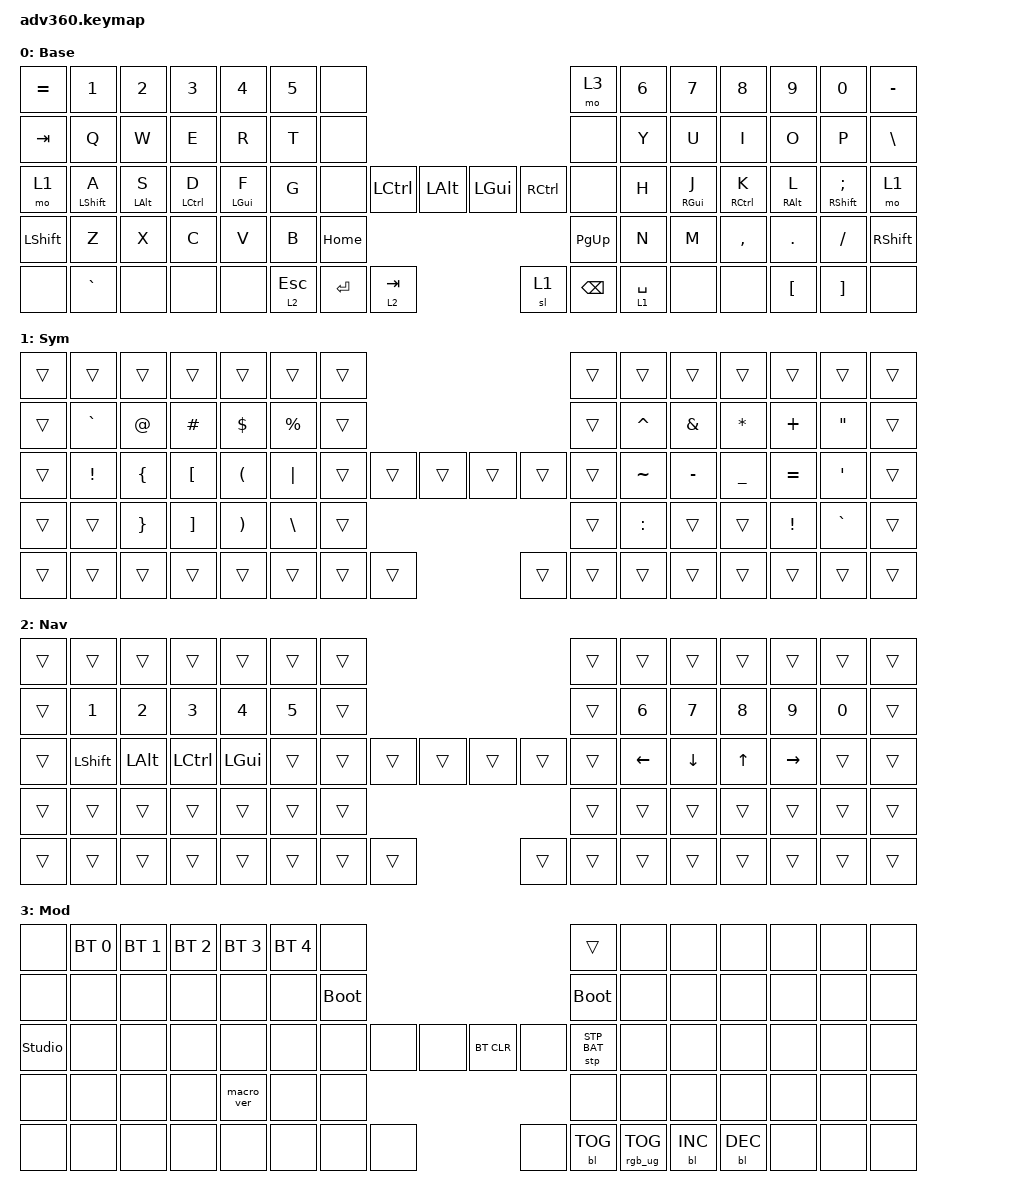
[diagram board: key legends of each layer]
#include <behaviors.dtsi>
#include <dt-bindings/zmk/keys.h>
#include <dt-bindings/zmk/bt.h>
#include <dt-bindings/zmk/rgb.h>
#include <dt-bindings/zmk/stp.h>
#include <dt-bindings/zmk/backlight.h>
#include <dt-bindings/zmk/pointing.h>

// Homerow mods settings
&mt {
    flavor = "balanced";
    tapping-term-ms = <225>;
    quick-tap-ms = <175>;
    require-prior-idle-ms = <150>;
};

// Layer-tap settings - balanced flavor for better fast typing
&lt {
    flavor = "balanced";
    tapping-term-ms = <280>;
    quick-tap-ms = <175>;
    require-prior-idle-ms = <125>;
};

/ {
    combos {
        compatible = "zmk,combos";

        cmd_a {
            bindings = <&kp LG(A)>;
            key-positions = <29 47>;
        };

        cmd_x {
            bindings = <&kp LG(X)>;
            key-positions = <30 48>;
        };

        cmd_c {
            bindings = <&kp LG(C)>;
            key-positions = <31 49>;
        };

        cmd_v {
            bindings = <&kp LG(V)>;
            key-positions = <32 50>;
        };
    };

    behaviors {
        #include "macros.dtsi"
        #include "version.dtsi"

        hm: homerow_mods {
            compatible = "zmk,behavior-hold-tap";
            label = "HOMEROW_MODS";
            #binding-cells = <2>;
            tapping-term-ms = <200>;
            quick_tap_ms = <175>;
            flavor = "tap-preferred";
            bindings = <&kp>, <&kp>;
        };

        // Custom layer-tap for space key with aggressive tap-preferred settings
        // Prevents accidental layer activation during fast typing
        thumb_lt: thumb_layer_tap {
            compatible = "zmk,behavior-hold-tap";
            label = "THUMB_LAYER_TAP";
            #binding-cells = <2>;
            flavor = "tap-preferred";
            tapping-term-ms = <200>;
            quick-tap-ms = <200>;
            require-prior-idle-ms = <175>;
            bindings = <&mo>, <&kp>;
        };
    };

    keymap {
        compatible = "zmk,keymap";

        default_layer {
            display-name = "Base";
            bindings = <
                &kp EQUAL &kp N1         &kp N2       &kp N3        &kp N4       &kp N5 &none                                                                     &mo 3 &kp N6 &kp N7       &kp N8        &kp N9       &kp N0          &kp MINUS
                &kp TAB   &kp Q          &kp W        &kp E         &kp R        &kp T  &none                                                                     &none &kp Y  &kp U        &kp I         &kp O        &kp P           &kp BSLH
                &mo 1     &mt LSHIFT A   &mt LALT S   &mt LCTRL D   &mt LGUI F   &kp G  &none           &kp LCTRL &kp LALT &kp LGUI  &kp RCTRL                    &none &kp H  &mt RGUI J   &mt RCTRL K   &mt RALT L   &mt RSHIFT SEMI &mo 1
                &kp LSHFT &kp Z          &kp X        &kp C         &kp V        &kp B                            &kp HOME &kp PG_UP                                   &kp N  &kp M        &kp COMMA     &kp DOT      &kp FSLH        &kp RSHFT
                &none     &kp GRAVE      &none        &none         &none                      &lt 2 ESC &kp ENTER &lt 2 TAB  &sl 1     &kp BSPC  &thumb_lt 1 SPACE             &none        &none         &kp LBKT     &kp RBKT        &none
            >;
        };

        sym_layer {
            display-name = "Sym";
            bindings = <
                &trans    &trans         &trans       &trans        &trans       &trans &trans                                                                    &trans &trans    &trans     &trans     &trans     &trans              &trans
                &trans    &kp GRAVE      &kp AT       &kp HASH      &kp DLLR     &kp PRCNT &trans                                                                 &trans &kp CARET &kp AMPS   &kp STAR   &kp PLUS   &kp DOUBLE_QUOTES   &trans
                &trans    &kp EXCL       &kp LBRC     &kp LBKT      &kp LPAR     &kp PIPE  &trans        &trans    &trans   &trans    &trans                      &trans &kp TILDE &kp MINUS  &kp UNDER  &kp EQUAL  &kp SINGLE_QUOTE    &trans
                &trans    &trans         &kp RBRC     &kp RBKT      &kp RPAR     &kp BSLH                          &trans   &trans                                       &kp COLON &trans     &trans     &kp EXCL   &kp GRAVE           &trans
                &trans    &trans         &trans       &trans        &trans                       &trans    &trans  &trans   &trans    &trans    &trans                              &trans     &trans     &trans     &trans              &trans
            >;
        };

        nav_layer {
            display-name = "Nav";
            bindings = <
                &trans    &trans         &trans       &trans        &trans       &trans &trans                                                                    &trans &trans   &trans    &trans       &trans     &trans &trans
                &trans    &kp N1         &kp N2       &kp N3        &kp N4       &kp N5 &trans                                                                    &trans &kp N6   &kp N7    &kp N8       &kp N9     &kp N0 &trans
                &trans    &kp LSHIFT     &kp LALT     &kp LCTRL     &kp LGUI     &trans &trans        &trans    &trans   &trans    &trans                         &trans &kp LEFT &kp DOWN  &kp UP       &kp RIGHT  &trans &trans
                &trans    &trans         &trans       &trans        &trans       &trans                         &trans   &trans                                          &trans   &trans    &trans       &trans     &trans &trans
                &trans    &trans         &trans       &trans        &trans                      &trans   &trans  &trans   &trans    &trans    &trans                               &trans    &trans       &trans     &trans &trans
            >;
        };

        mod_layer {
            display-name = "Mod";
            bindings = <
                &none &bt BT_SEL 0 &bt BT_SEL 1 &bt BT_SEL 2 &bt BT_SEL 3 &bt BT_SEL 4 &none                                                                     &trans                 &none        &none        &none        &none &none &none
                &none &none        &none        &none        &none        &none        &bootloader                                                               &bootloader            &none        &none        &none        &none &none &none
                &studio_unlock &none &none     &none        &none        &none        &none                   &none &none &bt BT_CLR &none                      &stp STP_BAT &none        &none        &none        &none &none &none
                &none &none        &none        &none        &macro_ver   &none                                      &none &none                                                        &none        &none        &none        &none &none &none
                &none &none        &none        &none        &none                                       &none &none &none &none      &bl BL_TOG &rgb_ug RGB_TOG                                     &bl BL_INC   &bl BL_DEC   &none &none &none
            >;
        };

        extra1 {
            display-name = "Red";
            status = "reserved";
        };

        extra2 {
            display-name = "Purple";
            status = "reserved";
        };

        extra3 {
            display-name = "Cyan";
            status = "reserved";
        };

        extra4 {
            display-name = "Yellow";
            status = "reserved";
        };
    };
};
